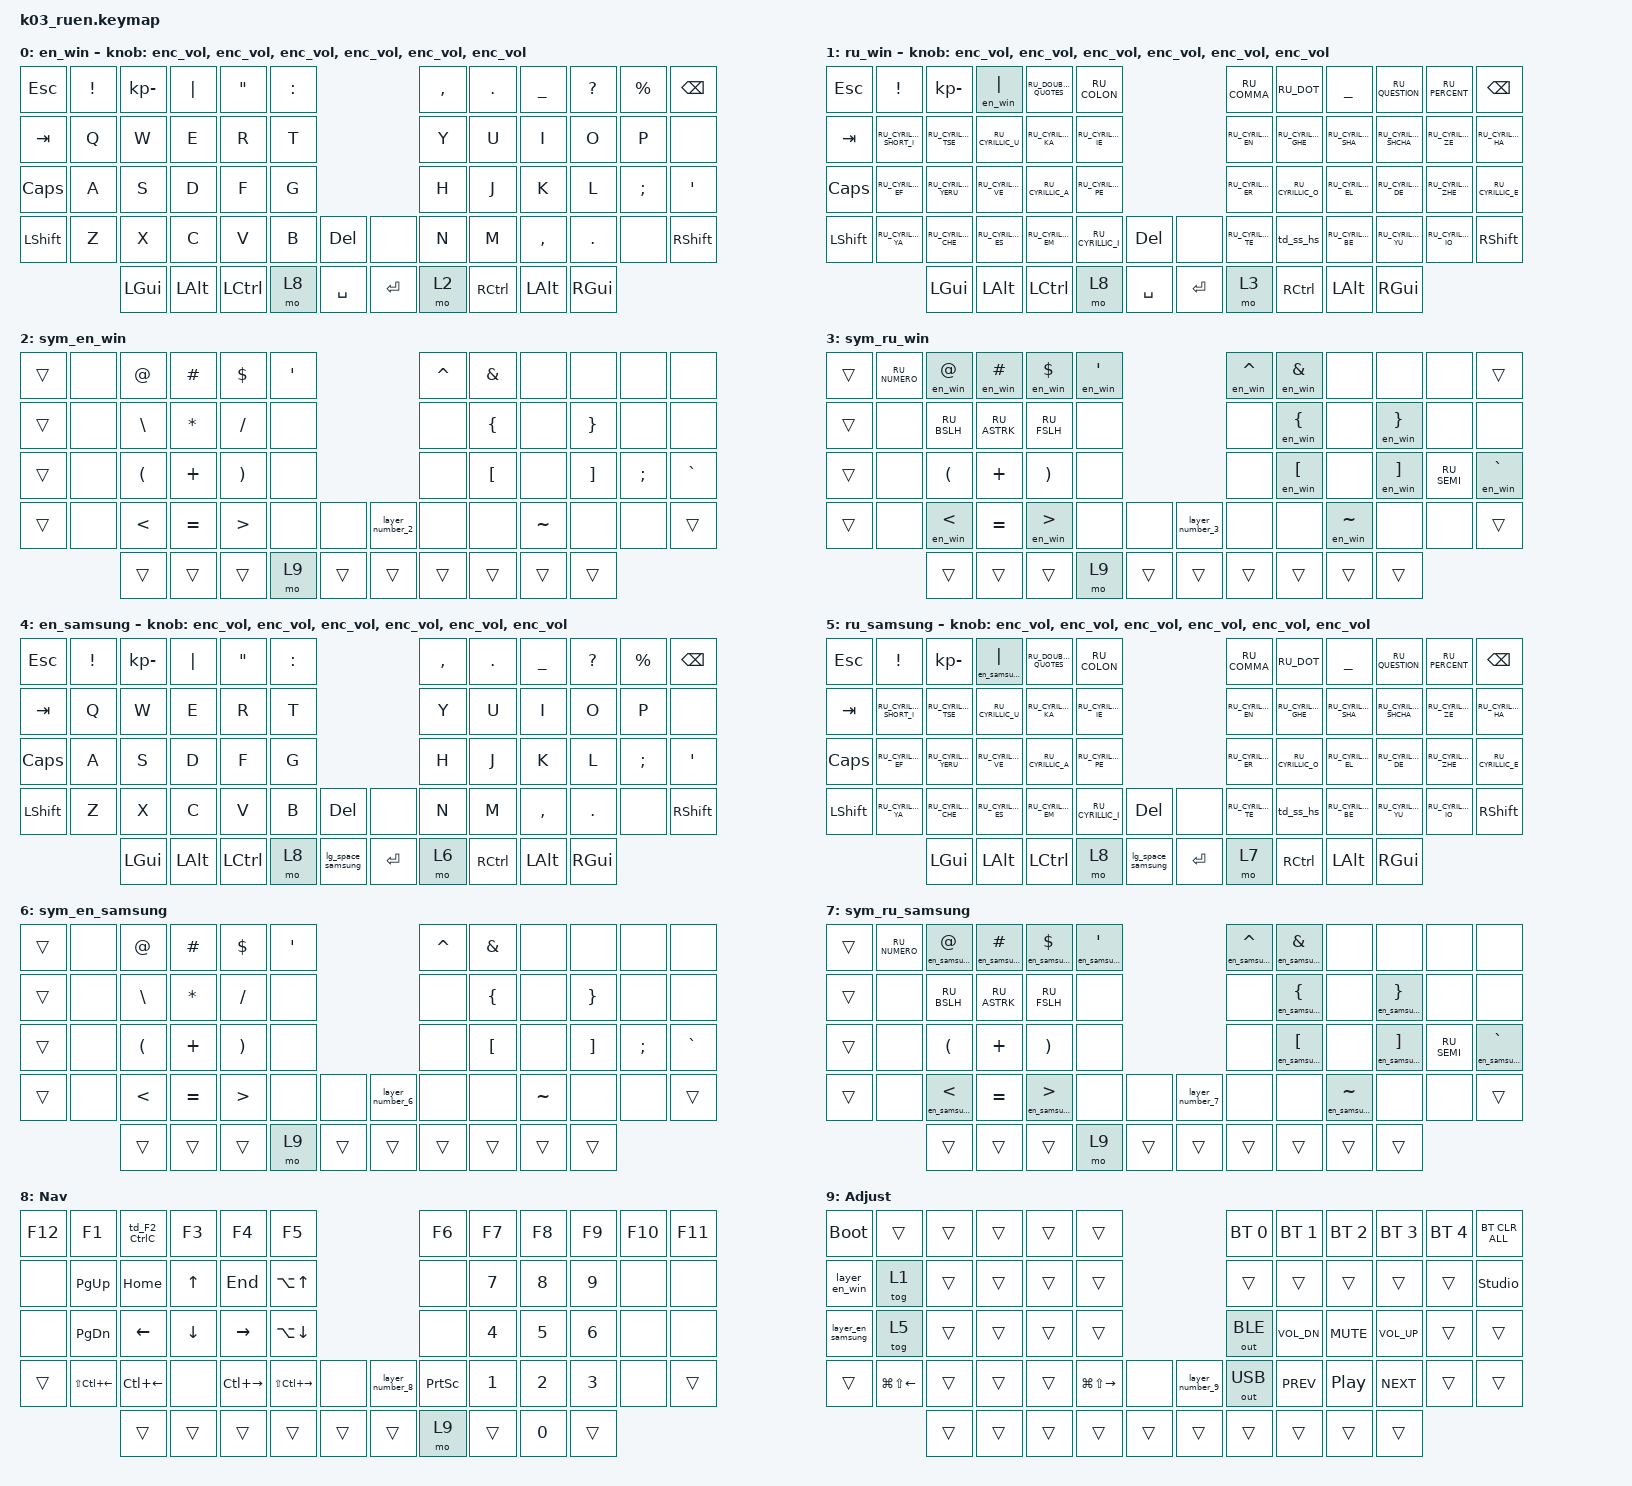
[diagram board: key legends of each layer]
#include "keys_ru.h"
#include <behaviors.dtsi>
#include <dt-bindings/zmk/bt.h>
#include <dt-bindings/zmk/keys.h>
#include <dt-bindings/zmk/outputs.h>

/ {
    behaviors {
        enc_vol: enc_vol {
            compatible = "zmk,behavior-sensor-rotate";
            label = "ENC_VOL";
            #sensor-binding-cells = <0>;
            bindings = <&kp C_VOL_UP>, <&kp C_VOL_DN>;
        };

        td_ss_hs: td_ss_hs {
            compatible = "zmk,behavior-tap-dance";
            label = "TD_SS_HS";
            #binding-cells = <0>;
            bindings = <&kp RU_CYRILLIC_SOFT_SIGN>, <&kp RU_CYRILLIC_HARD_SIGN>;
        };

        lg_space_samsung: lg_space_samsung {
            compatible = "zmk,behavior-mod-morph";
            label = "LG_SPACE_SAMSUNG";
            bindings = <&kp SPACE>, <&lg_tog_samsung>;

            #binding-cells = <0>;
            mods = <(MOD_LCTL)>;
        };

        td_F2_CtrlC: td_F2_CtrlC {
            compatible = "zmk,behavior-tap-dance";
            label = "TD_F2_CTRLC";
            #binding-cells = <0>;
            bindings = <&kp F2>, <&keys_F2_CtrlC>;
        };
    };

    combos {
        compatible = "zmk,combos";

        cmben {
            bindings = <&layer_en_win>;
            key-positions = <15 16>;
            layers = <1>;
        };

        cmbru {
            bindings = <&layer_ru_win>;
            key-positions = <15 16>;
            layers = <0>;
        };

        layer_name_0 {
            bindings = <&layer_number_0>;
            key-positions = <42 43>;
            layers = <0>;
        };

        layer_name_1 {
            bindings = <&layer_number_1>;
            key-positions = <42 43>;
            layers = <1>;
        };

        layer_name_4 {
            bindings = <&layer_number_4>;
            key-positions = <42 43>;
        };

        layer_name_5 {
            bindings = <&layer_number_5>;
            key-positions = <42 43>;
            layers = <5>;
        };
    };

    macros {
        to_ru_win: to_ru_win {
            compatible = "zmk,behavior-macro";
            #binding-cells = <0>;
            bindings = <&kp LC(LS(N2))>;
            label = "TO_RU_WIN";
            wait-ms = <0>;
            tap-ms = <30>;
        };

        to_en_win: to_en_win {
            compatible = "zmk,behavior-macro";
            #binding-cells = <0>;
            bindings = <&kp LC(LS(N1))>;
            label = "TO_EN_WIN";
            wait-ms = <0>;
            tap-ms = <30>;
        };

        layer_en_win: layer_en_win {
            compatible = "zmk,behavior-macro";
            #binding-cells = <0>;
            bindings = <&to 0 &to_en_win>;
            label = "LAYER_EN_WIN";
            wait-ms = <0>;
            tap-ms = <30>;
        };

        layer_ru_win: layer_ru {
            compatible = "zmk,behavior-macro";
            #binding-cells = <0>;
            bindings = <&to 1 &to_ru_win>;
            label = "LAYER_RU";
            tap-ms = <30>;
            wait-ms = <0>;
        };

        en_win: en_win {
            compatible = "zmk,behavior-macro-one-param";
            #binding-cells = <1>;
            bindings =
                <&to_en_win>,
                <&macro_press>,
                <&macro_param_1to1 &kp MACRO_PLACEHOLDER>,
                <&macro_pause_for_release>,
                <&macro_release>,
                <&macro_param_1to1 &kp MACRO_PLACEHOLDER>,
                <&macro_tap>,
                <&to_ru_win>;

            label = "EN_WIN";
            wait-ms = <0>;
            tap-ms = <30>;
        };

        lg_tog_samsung: lg_tog_samsung {
            compatible = "zmk,behavior-macro";
            #binding-cells = <0>;
            bindings = <&kp LC(SPACE) &tog 5>;
            label = "LG_TOG_SAMSUNG";
        };

        layer_en_samsung: layer_en_samsung {
            compatible = "zmk,behavior-macro";
            #binding-cells = <0>;
            bindings = <&to 4 &lg_tog_samsung>;
            label = "LAYER_EN_SAMSUNG";
            wait-ms = <0>;
            tap-ms = <30>;
        };

        to_ru_samsung: to_ru_samsung {
            compatible = "zmk,behavior-macro";
            #binding-cells = <0>;
            bindings = <&kp LC(SPACE)>;
            label = "TO_RU_SAMSUNG";
            wait-ms = <0>;
            tap-ms = <30>;
        };

        to_en_samsung: to_en_samsung {
            compatible = "zmk,behavior-macro";
            #binding-cells = <0>;
            bindings = <&kp LC(SPACE)>;
            label = "TO_EN_SAMSUNG";
            wait-ms = <0>;
            tap-ms = <30>;
        };

        en_samsung: en_samsung {
            compatible = "zmk,behavior-macro-one-param";
            #binding-cells = <1>;
            bindings =
                <&to_en_samsung>,
                <&macro_wait_time 300>,
                <&macro_press>,
                <&macro_param_1to1 &kp MACRO_PLACEHOLDER>,
                <&macro_pause_for_release>,
                <&macro_release>,
                <&macro_param_1to1 &kp MACRO_PLACEHOLDER>,
                <&macro_tap>,
                <&to_ru_samsung>,
                <&macro_wait_time 300>;

            label = "EN_SAMSUNG";
            wait-ms = <0>;
            tap-ms = <30>;
        };

        layer_number_0: layer_number_0 {
            compatible = "zmk,behavior-macro";
            #binding-cells = <0>;
            bindings = <&kp E &kp N &kp UNDER &kp W &kp I &kp N &kp UNDER &kp UNDER &kp N0>;
            label = "LAYER_NUMBER_0";
        };

        layer_number_1: layer_number_1 {
            compatible = "zmk,behavior-macro";
            #binding-cells = <0>;
            bindings = <&kp H &kp E &kp UNDER &kp Y &kp J &kp E &kp N &kp UNDER &kp UNDER &kp N1>;
            label = "LAYER_NUMBER_1";
        };

        layer_number_2: layer_number_2 {
            compatible = "zmk,behavior-macro";
            #binding-cells = <0>;
            bindings = <&kp S &kp Y &kp M &kp UNDER &kp E &kp N &kp UNDER &kp W &kp I &kp N &kp UNDER &kp FSLH &kp N2>;
            label = "LAYER_NUMBER_2";
        };

        layer_number_3: layer_number_3 {
            compatible = "zmk,behavior-macro";
            #binding-cells = <0>;
            bindings = <&kp C &kp B &kp V &kp D &kp J &kp K &kp S &kp UNDER &kp H &kp E &kp UNDER &kp Y &kp J &kp E &kp N &kp UNDER &kp UNDER &kp N3>;
            label = "LAYER_NUMBER_3";
        };

        layer_number_4: layer_number_4 {
            compatible = "zmk,behavior-macro";
            #binding-cells = <0>;
            bindings = <&kp E &kp N &kp UNDER &kp S &kp A &kp M &kp S &kp U &kp N &kp G &kp UNDER &kp UNDER &kp N4>;
            label = "LAYER_NUMBER_4";
        };

        layer_number_5: layer_number_5 {
            compatible = "zmk,behavior-macro";
            #binding-cells = <0>;
            bindings = <&kp H &kp E &kp UNDER &kp G &kp K &kp F &kp Y &kp I &kp T &kp N &kp UNDER &kp UNDER &kp N5>;
            label = "LAYER_NUMBER_5";
        };

        layer_number_6: layer_number_6 {
            compatible = "zmk,behavior-macro";
            #binding-cells = <0>;
            bindings = <&kp S &kp Y &kp M &kp UNDER &kp E &kp N &kp UNDER &kp S &kp A &kp M &kp S &kp U &kp N &kp G &kp UNDER &kp UNDER &kp N6>;
            label = "LAYER_NUMBER_6";
        };

        layer_number_7: layer_number_7 {
            compatible = "zmk,behavior-macro";
            #binding-cells = <0>;
            bindings = <&kp C &kp B &kp V &kp D &kp J &kp K &kp S &kp UNDER &kp H &kp E &kp UNDER &kp G &kp K &kp F &kp Y &kp I &kp T &kp N &kp UNDER &kp UNDER &kp N7>;
            label = "LAYER_NUMBER_7";
        };

        layer_number_8: layer_number_8 {
            compatible = "zmk,behavior-macro";
            #binding-cells = <0>;
            bindings = <&kp N &kp A &kp V>;
            label = "LAYER_NUMBER_8";
        };

        layer_number_9: layer_number_9 {
            compatible = "zmk,behavior-macro";
            #binding-cells = <0>;
            bindings = <&kp A &kp D &kp J>;
            label = "LAYER_NUMBER_9";
        };

        keys_F2_CtrlC: keys_F2_CtrlC {
            compatible = "zmk,behavior-macro";
            #binding-cells = <0>;
            bindings = <&kp F2 &kp LC(C) &kp ENTER>;
            label = "KEYS_F2_CTRLC";
        };
    };

    keymap {
        compatible = "zmk,keymap";

        en_win {
            bindings = <
&kp ESC       &kp EXCL  &kp KP_MINUS  &kp PIPE  &kp DOUBLE_QUOTES  &kp COLON                          &kp COMMA  &kp DOT    &kp UNDER  &kp QUESTION  &kp PRCNT  &kp BSPC
&kp TAB       &kp Q     &kp W         &kp E     &kp R              &kp T                              &kp Y      &kp U      &kp I      &kp O         &kp P      &none
&kp CAPSLOCK  &kp A     &kp S         &kp D     &kp F              &kp G                              &kp H      &kp J      &kp K      &kp L         &kp SEMI   &kp SQT
&kp LSHFT     &kp Z     &kp X         &kp C     &kp V              &kp B      &kp DEL      &none      &kp N      &kp M      &kp COMMA  &kp DOT       &none      &kp RSHFT
                        &kp LGUI      &kp LALT  &kp LCTRL          &mo 8      &kp SPACE    &kp ENTER  &mo 2      &kp RCTRL  &kp LALT   &kp RGUI
            >;

            display-name = "en_win";
            sensor-bindings =
                <&enc_vol>,
                <&enc_vol>,
                <&enc_vol>,
                <&enc_vol>,
                <&enc_vol>,
                <&enc_vol>;
        };

        ru_win {
            display-name = "ru_win";
            bindings = <
&kp ESC       &kp EXCL                 &kp KP_MINUS          &en_win PIPE        &kp RU_DOUBLE_QUOTES  &kp RU_COLON                                &kp RU_COMMA        &kp RU_DOT           &kp UNDER            &kp RU_QUESTION        &kp RU_PERCENT       &kp BSPC
&kp TAB       &kp RU_CYRILLIC_SHORT_I  &kp RU_CYRILLIC_TSE   &kp RU_CYRILLIC_U   &kp RU_CYRILLIC_KA    &kp RU_CYRILLIC_IE                          &kp RU_CYRILLIC_EN  &kp RU_CYRILLIC_GHE  &kp RU_CYRILLIC_SHA  &kp RU_CYRILLIC_SHCHA  &kp RU_CYRILLIC_ZE   &kp RU_CYRILLIC_HA
&kp CAPSLOCK  &kp RU_CYRILLIC_EF       &kp RU_CYRILLIC_YERU  &kp RU_CYRILLIC_VE  &kp RU_CYRILLIC_A     &kp RU_CYRILLIC_PE                          &kp RU_CYRILLIC_ER  &kp RU_CYRILLIC_O    &kp RU_CYRILLIC_EL   &kp RU_CYRILLIC_DE     &kp RU_CYRILLIC_ZHE  &kp RU_CYRILLIC_E
&kp LSHFT     &kp RU_CYRILLIC_YA       &kp RU_CYRILLIC_CHE   &kp RU_CYRILLIC_ES  &kp RU_CYRILLIC_EM    &kp RU_CYRILLIC_I   &kp DEL      &none      &kp RU_CYRILLIC_TE  &td_ss_hs            &kp RU_CYRILLIC_BE   &kp RU_CYRILLIC_YU     &kp RU_CYRILLIC_IO   &kp RSHFT
                                       &kp LGUI              &kp LALT            &kp LCTRL             &mo 8               &kp SPACE    &kp ENTER  &mo 3               &kp RCTRL            &kp LALT             &kp RGUI
            >;

            sensor-bindings =
                <&enc_vol>,
                <&enc_vol>,
                <&enc_vol>,
                <&enc_vol>,
                <&enc_vol>,
                <&enc_vol>;
        };

        sym_en_win {
            bindings = <
&trans  &none  &kp AT    &kp HASH   &kp DOLLAR  &kp SQT                             &kp CARET  &kp AMPERSAND  &none      &none     &none     &none
&trans  &none  &kp BSLH  &kp STAR   &kp FSLH    &none                               &none      &kp LBRC       &none      &kp RBRC  &none     &none
&trans  &none  &kp LPAR  &kp PLUS   &kp RPAR    &none                               &none      &kp LBKT       &none      &kp RBKT  &kp SEMI  &kp GRAVE
&trans  &none  &kp LT    &kp EQUAL  &kp GT      &none    &none     &layer_number_2  &none      &none          &kp TILDE  &none     &none     &trans
               &trans    &trans     &trans      &mo 9    &trans    &trans           &trans     &trans         &trans     &trans
            >;

            display-name = "sym_en_win";
        };

        sym_ru_win {
            display-name = "sym_ru_win";
            bindings = <
&trans  &kp RU_NUMERO  &en_win AT   &en_win HASH  &en_win DOLLAR  &en_win SQT                             &en_win CARET  &en_win AMPERSAND  &none          &none         &none        &trans
&trans  &none          &kp RU_BSLH  &kp RU_ASTRK  &kp RU_FSLH     &none                                   &none          &en_win LBRC       &none          &en_win RBRC  &none        &none
&trans  &none          &kp LPAR     &kp PLUS      &kp RPAR        &none                                   &none          &en_win LBKT       &none          &en_win RBKT  &kp RU_SEMI  &en_win GRAVE
&trans  &none          &en_win LT   &kp EQUAL     &en_win GT      &none        &none     &layer_number_3  &none          &none              &en_win TILDE  &none         &none        &trans
                       &trans       &trans        &trans          &mo 9        &trans    &trans           &trans         &trans             &trans         &trans
            >;
        };

        en_samsung {
            display-name = "en_samsung";
            bindings = <
&kp ESC       &kp EXCL  &kp KP_MINUS  &kp PIPE  &kp DOUBLE_QUOTES  &kp COLON                                  &kp COMMA  &kp DOT    &kp UNDER  &kp QUESTION  &kp PRCNT  &kp BSPC
&kp TAB       &kp Q     &kp W         &kp E     &kp R              &kp T                                      &kp Y      &kp U      &kp I      &kp O         &kp P      &none
&kp CAPSLOCK  &kp A     &kp S         &kp D     &kp F              &kp G                                      &kp H      &kp J      &kp K      &kp L         &kp SEMI   &kp SQT
&kp LSHFT     &kp Z     &kp X         &kp C     &kp V              &kp B      &kp DEL              &none      &kp N      &kp M      &kp COMMA  &kp DOT       &none      &kp RSHFT
                        &kp LGUI      &kp LALT  &kp LCTRL          &mo 8      &lg_space_samsung    &kp ENTER  &mo 6      &kp RCTRL  &kp LALT   &kp RGUI
            >;

            sensor-bindings =
                <&enc_vol>,
                <&enc_vol>,
                <&enc_vol>,
                <&enc_vol>,
                <&enc_vol>,
                <&enc_vol>;
        };

        ru_samsung {
            display-name = "ru_samsung";
            bindings = <
&kp ESC       &kp EXCL                 &kp KP_MINUS          &en_samsung PIPE    &kp RU_DOUBLE_QUOTES  &kp RU_COLON                                        &kp RU_COMMA        &kp RU_DOT           &kp UNDER            &kp RU_QUESTION        &kp RU_PERCENT       &kp BSPC
&kp TAB       &kp RU_CYRILLIC_SHORT_I  &kp RU_CYRILLIC_TSE   &kp RU_CYRILLIC_U   &kp RU_CYRILLIC_KA    &kp RU_CYRILLIC_IE                                  &kp RU_CYRILLIC_EN  &kp RU_CYRILLIC_GHE  &kp RU_CYRILLIC_SHA  &kp RU_CYRILLIC_SHCHA  &kp RU_CYRILLIC_ZE   &kp RU_CYRILLIC_HA
&kp CAPSLOCK  &kp RU_CYRILLIC_EF       &kp RU_CYRILLIC_YERU  &kp RU_CYRILLIC_VE  &kp RU_CYRILLIC_A     &kp RU_CYRILLIC_PE                                  &kp RU_CYRILLIC_ER  &kp RU_CYRILLIC_O    &kp RU_CYRILLIC_EL   &kp RU_CYRILLIC_DE     &kp RU_CYRILLIC_ZHE  &kp RU_CYRILLIC_E
&kp LSHFT     &kp RU_CYRILLIC_YA       &kp RU_CYRILLIC_CHE   &kp RU_CYRILLIC_ES  &kp RU_CYRILLIC_EM    &kp RU_CYRILLIC_I   &kp DEL              &none      &kp RU_CYRILLIC_TE  &td_ss_hs            &kp RU_CYRILLIC_BE   &kp RU_CYRILLIC_YU     &kp RU_CYRILLIC_IO   &kp RSHFT
                                       &kp LGUI              &kp LALT            &kp LCTRL             &mo 8               &lg_space_samsung    &kp ENTER  &mo 7               &kp RCTRL            &kp LALT             &kp RGUI
            >;

            sensor-bindings =
                <&enc_vol>,
                <&enc_vol>,
                <&enc_vol>,
                <&enc_vol>,
                <&enc_vol>,
                <&enc_vol>;
        };

        sym_en_samsung {
            display-name = "sym_en_samsung";
            bindings = <
&trans  &none  &kp AT    &kp HASH   &kp DOLLAR  &kp SQT                             &kp CARET  &kp AMPERSAND  &none      &none     &none     &none
&trans  &none  &kp BSLH  &kp STAR   &kp FSLH    &none                               &none      &kp LBRC       &none      &kp RBRC  &none     &none
&trans  &none  &kp LPAR  &kp PLUS   &kp RPAR    &none                               &none      &kp LBKT       &none      &kp RBKT  &kp SEMI  &kp GRAVE
&trans  &none  &kp LT    &kp EQUAL  &kp GT      &none    &none     &layer_number_6  &none      &none          &kp TILDE  &none     &none     &trans
               &trans    &trans     &trans      &mo 9    &trans    &trans           &trans     &trans         &trans     &trans
            >;
        };

        sym_ru_samsung {
            display-name = "sym_ru_samsung";
            bindings = <
&trans  &kp RU_NUMERO  &en_samsung AT  &en_samsung HASH  &en_samsung DOLLAR  &en_samsung SQT                             &en_samsung CARET  &en_samsung AMPERSAND  &none              &none             &none        &none
&trans  &none          &kp RU_BSLH     &kp RU_ASTRK      &kp RU_FSLH         &none                                       &none              &en_samsung LBRC       &none              &en_samsung RBRC  &none        &none
&trans  &none          &kp LPAR        &kp PLUS          &kp RPAR            &none                                       &none              &en_samsung LBKT       &none              &en_samsung RBKT  &kp RU_SEMI  &en_samsung GRAVE
&trans  &none          &en_samsung LT  &kp EQUAL         &en_samsung GT      &none            &none     &layer_number_7  &none              &none                  &en_samsung TILDE  &none             &none        &trans
                       &trans          &trans            &trans              &mo 9            &trans    &trans           &trans             &trans                 &trans             &trans
            >;
        };

        nav {
            bindings = <
&kp F12  &kp F1            &td_F2_CtrlC  &kp F3    &kp F4         &kp F5                                        &kp F6           &kp F7  &kp F8  &kp F9  &kp F10  &kp F11
&none    &kp PG_UP         &kp HOME      &kp UP    &kp END        &kp LA(UP)                                    &none            &kp N7  &kp N8  &kp N9  &none    &none
&none    &kp PG_DN         &kp LEFT      &kp DOWN  &kp RIGHT      &kp LA(DOWN)                                  &none            &kp N4  &kp N5  &kp N6  &none    &none
&trans   &kp LS(LC(LEFT))  &kp LC(LEFT)  &none     &kp LC(RIGHT)  &kp LS(LC(RIGHT))  &none     &layer_number_8  &kp PRINTSCREEN  &kp N1  &kp N2  &kp N3  &none    &trans
                           &trans        &trans    &trans         &trans             &trans    &trans           &mo 9            &trans  &kp N0  &trans
            >;

            display-name = "Nav";
        };

        adj {
            bindings = <
&bootloader        &trans            &trans  &trans  &trans  &trans                                        &bt BT_SEL 0  &bt BT_SEL 1  &bt BT_SEL 2      &bt BT_SEL 3  &bt BT_SEL 4  &bt BT_CLR_ALL
&layer_en_win      &tog 1            &trans  &trans  &trans  &trans                                        &trans        &trans        &trans            &trans        &trans        &studio_unlock
&layer_en_samsung  &tog 5            &trans  &trans  &trans  &trans                                        &out OUT_BLE  &kp C_VOL_DN  &kp C_MUTE        &kp C_VOL_UP  &trans        &trans
&trans             &kp LG(LS(LEFT))  &trans  &trans  &trans  &kp LG(LS(RIGHT))  &none     &layer_number_9  &out OUT_USB  &kp C_PREV    &kp C_PLAY_PAUSE  &kp C_NEXT    &trans        &trans
                                     &trans  &trans  &trans  &trans             &trans    &trans           &trans        &trans        &trans            &trans
            >;

            display-name = "Adjust";
        };
    };
};
